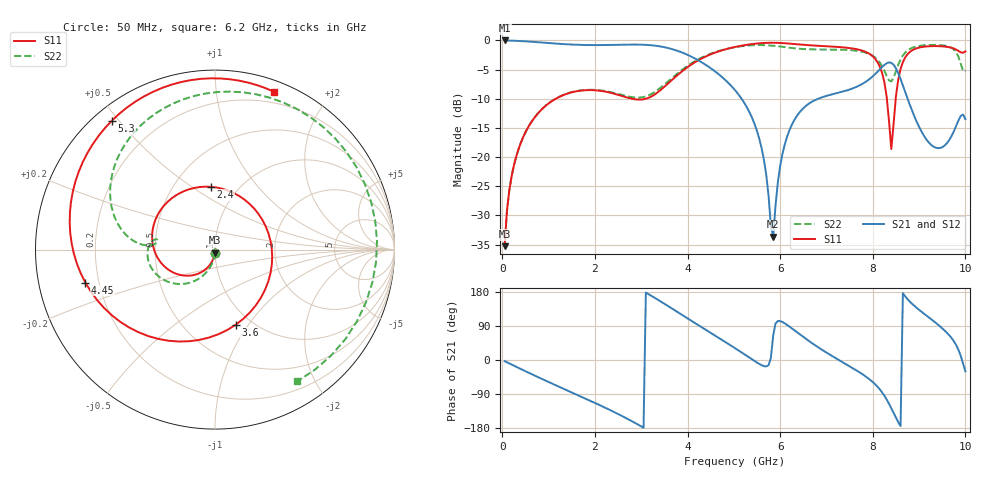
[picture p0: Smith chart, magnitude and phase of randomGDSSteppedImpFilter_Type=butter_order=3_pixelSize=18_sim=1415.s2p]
! freq	dB(S11)	phase(S11)	dB(S12)	phase(S12)
!  dB(S21)	phase(S21)	dB(S22)	phase(S22)
!S-par simulation data
#  GHz  S  DB  R 50
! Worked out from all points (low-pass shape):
!   200 points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, 50 MHz to 10 GHz, reference 50 ohm
!   highest |S21| = -0.01 dB at 50 MHz (marker M1); lowest = -33.7 dB at 5.85 GHz (marker M2)
!   |S21| within 3 dB of the highest: start of sweep to 4.138 GHz
!   lowest |S11| = -35.3 dB at 50 MHz (marker M3), VSWR 1.04, Z = 49.9 - j1.72 ohm
!   |S11| at or under -10 dB: start of sweep to 1.155 GHz; 2.798 GHz to 3.1 GHz (301.6 MHz wide, 10.2 % of centre); 8.304 GHz to 8.496 GHz (191.5 MHz wide, 2.28 % of centre)
!   |S22| runs from -35.3 to -0.8 dB; largest |S21 - S12| = 0
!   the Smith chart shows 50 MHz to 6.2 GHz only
!   S11 on the Smith chart (normalised r, x): 50 MHz: 1.00, -0.03; 2.4 GHz: 0.75, +0.60; 3.6 GHz: 0.85, -0.87; 4.45 GHz: 0.15, -0.12; 5.3 GHz: 0.05, +0.48; 6.2 GHz: 0.10, +1.43
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0.05  -35.27 -93.3  -0.01 -3.0  -0.01 -3.0  -35.26 -92.4
0.2  -23.34 -104.0  -0.04 -12.0  -0.04 -12.0  -23.33 -100.4
0.5  -15.76 -124.7  -0.16 -29.6  -0.16 -29.6  -15.74 -115.4
1.75  -8.56 149.3  -0.78 -99.3  -0.78 -99.3  -8.52 -168.9
2.4  -9.10 93.8  -0.76 -136.4  -0.76 -136.4  -8.98 172.9
3.4  -8.63 -46.2  -1.02 156.0  -1.02 156.0  -8.22 176.4
3.6  -7.24 -74.7  -1.35 140.8  -1.35 140.8  -6.88 174.1
4.45  -2.55 -165.7  -4.49 75.4  -4.49 75.4  -2.43 134.3
5.05  -1.08 146.6  -8.76 29.2  -8.76 29.2  -1.13 89.0
5.3  -0.73 128.7  -11.74 9.2  -11.74 9.2  -0.88 65.0
5.85  -0.40 91.4  -33.67 64.9  -33.67 64.9  -0.92 -4.3
6.2  -0.55 69.6  -15.41 88.2  -15.41 88.2  -1.25 -57.9
6.7  -0.87 41.8  -10.45 43.4  -10.45 43.4  -1.54 -128.0
7.15  -1.07 18.0  -9.19 8.5  -9.19 8.5  -1.57 -175.1
7.75  -1.70 -17.3  -7.57 -35.3  -7.57 -35.3  -1.91 136.8
8.15  -4.46 -52.0  -4.98 -77.2  -4.98 -77.2  -3.78 107.7
8.35  -13.78 -63.9  -3.77 -115.4  -3.77 -115.4  -6.84 109.5
8.4  -18.61 -24.9  -3.84 -127.5  -3.84 -127.5  -7.03 117.1
8.55  -6.72 21.8  -5.62 -164.0  -5.62 -164.0  -4.19 126.8
8.85  -1.70 -14.9  -12.07 148.1  -12.07 148.1  -1.29 103.0
9.7  -1.26 -69.2  -16.42 58.2  -16.42 58.2  -1.27 43.7
10  -1.89 -76.1  -13.49 -29.9  -13.49 -29.9  -5.17 47.2
